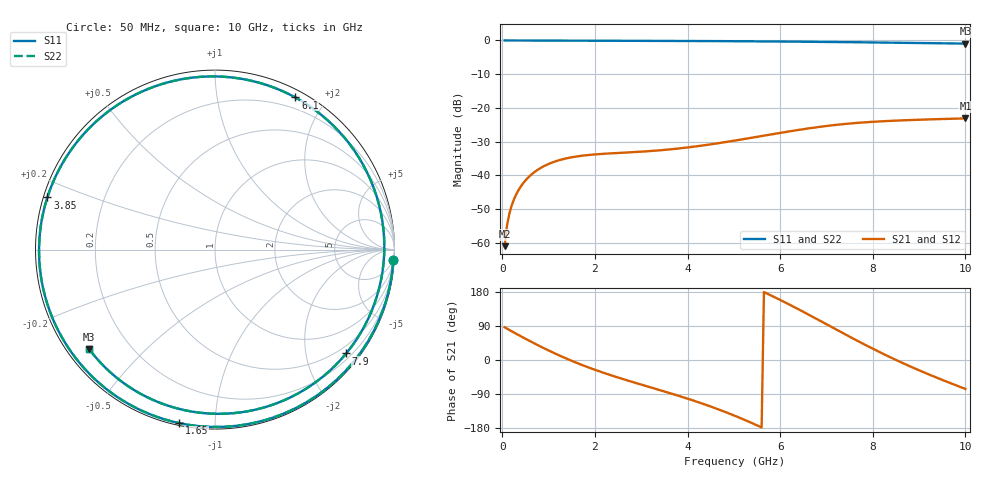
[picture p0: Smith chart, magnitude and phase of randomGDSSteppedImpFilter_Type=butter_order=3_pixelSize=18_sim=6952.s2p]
! freq	dB(S11)	phase(S11)	dB(S12)	phase(S12)
!  dB(S21)	phase(S21)	dB(S22)	phase(S22)
!S-par simulation data
#  GHz  S  DB  R 50
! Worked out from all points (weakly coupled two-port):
!   200 points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, 50 MHz to 10 GHz, reference 50 ohm
!   highest |S21| = -23.14 dB at 10 GHz (marker M1); lowest = -61.0 dB at 50 MHz (marker M2)
!   lowest |S11| = -1.0 dB at 10 GHz (marker M3), VSWR 17.86, Z = 3.14 - j17.3 ohm
!   |S11| at or under -10 dB: nowhere
!   |S22| runs from -1.0 to 0.0 dB; largest |S21 - S12| = 0
!   S11 on the Smith chart (normalised r, x): 50 MHz: 3, -34; 1.65 GHz: 0.01, -0.81; 3.85 GHz: 0.01, +0.15; 6.1 GHz: 0.08, +1.66; 7.9 GHz: 0.32, -2.84; 10 GHz: 0.06, -0.35
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0.05  -0.04 -3.4  -61.00 86.4  -61.00 86.4  -0.04 -3.4
0.1  -0.04 -6.8  -55.00 82.9  -55.00 82.9  -0.04 -6.8
0.2  -0.04 -13.6  -49.07 76.0  -49.07 76.0  -0.04 -13.6
0.45  -0.05 -30.4  -42.35 59.4  -42.35 59.4  -0.05 -30.4
0.75  -0.07 -49.9  -38.50 40.2  -38.50 40.2  -0.07 -49.9
1.05  -0.08 -68.3  -36.35 22.2  -36.35 22.2  -0.08 -68.3
1.65  -0.11 -101.7  -34.33 -9.7  -34.33 -9.7  -0.11 -101.7
1.75  -0.12 -106.8  -34.15 -14.5  -34.15 -14.5  -0.12 -106.8
2.55  -0.14 -144.1  -33.34 -48.2  -33.34 -48.2  -0.14 -144.1
3.4  -0.17 -179.3  -32.60 -79.4  -32.60 -79.4  -0.17 -179.3
3.85  -0.19 162.7  -31.99 -96.1  -31.99 -96.1  -0.19 162.7
4.45  -0.22 138.4  -30.93 -120.6  -30.93 -120.6  -0.22 138.4
5.05  -0.27 112.7  -29.65 -148.6  -29.65 -148.6  -0.27 112.7
5.6  -0.32 87.2  -28.37 -177.9  -28.37 -177.9  -0.32 87.2
6.1  -0.37 62.1  -27.21 152.5  -27.21 152.5  -0.37 62.2
6.7  -0.44 29.7  -25.93 114.1  -25.93 114.1  -0.44 29.7
7.3  -0.52 -4.4  -24.92 74.5  -24.92 74.5  -0.52 -4.3
7.9  -0.61 -38.4  -24.23 36.0  -24.23 36.0  -0.61 -38.3
8.35  -0.68 -62.9  -23.89 8.8  -23.89 8.8  -0.68 -62.8
8.7  -0.74 -81.0  -23.68 -11.0  -23.68 -11.0  -0.74 -81.0
9.1  -0.81 -100.8  -23.49 -32.4  -23.49 -32.4  -0.81 -100.7
10  -0.97 -141.6  -23.14 -76.3  -23.14 -76.3  -0.97 -141.6
